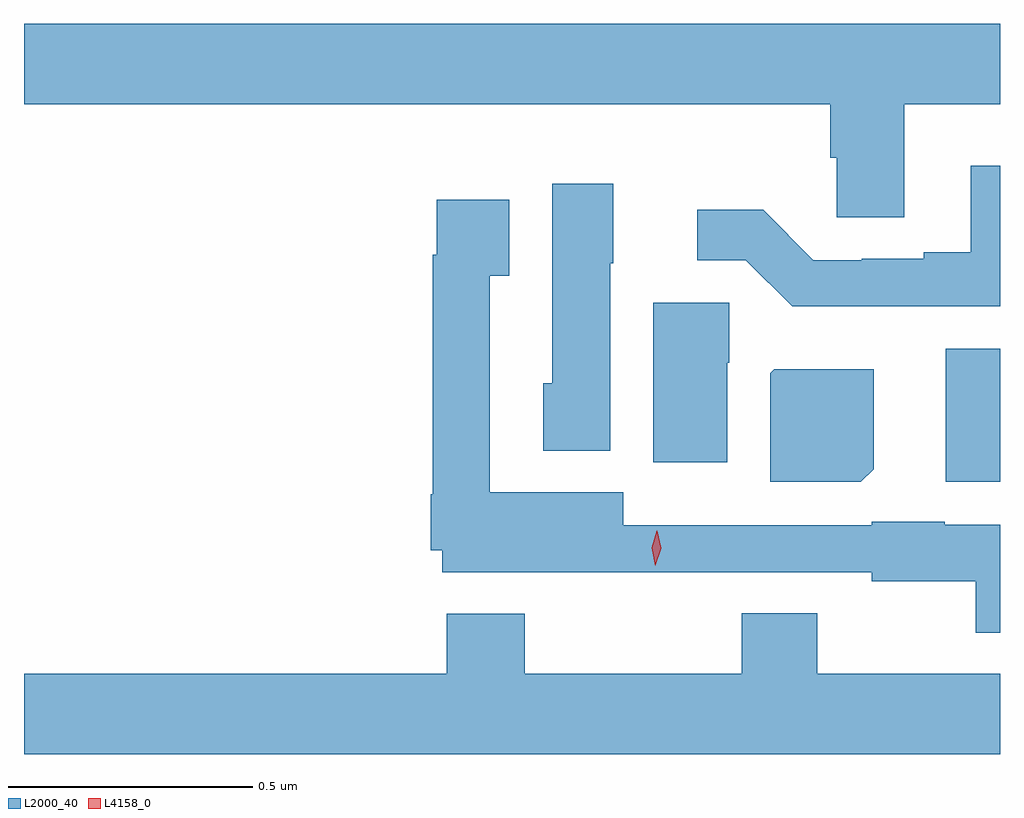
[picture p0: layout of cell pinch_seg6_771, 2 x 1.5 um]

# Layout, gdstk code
import gdstk
lib = gdstk.Library(unit=1e-6, precision=1e-09)
def R(c, l, rs):  # rectangles x0, y0, x1, y1
    for r in rs: c.add(gdstk.rectangle(r[:2], r[2:], *l))
def P(c, l, *ps):  # polygons
    for p in ps: c.add(gdstk.Polygon(p, *l))
L2000_40 = (2000, 40)
L4158_0 = (4158, 0)

pinch_seg6_771 = lib.new_cell('pinch_seg6_771')
R(pinch_seg6_771, L2000_40, [(507.158,926.582,507.269,926.854)])
P(pinch_seg6_771, L2000_40, [(507.073,927.356),(507.269,927.356),(507.269,927.52),(505.269,927.52),(505.269,927.356),(506.921,927.356),(506.921,927.246),(506.934,927.246),(506.934,927.124),(507.073,927.124)],
  [(507.269,927.229),(507.209,927.229),(507.209,927.052),(507.113,927.052),(507.113,927.039),(506.986,927.039),(506.986,927.036),(506.886,927.036),(506.784,927.139),(506.649,927.139),(506.649,927.036),(506.748,927.036),(506.843,926.942),(507.269,926.942)],
  [(506.47,927.03),(506.476,927.03),(506.476,927.193),(506.351,927.193),(506.351,926.784),(506.333,926.784),(506.333,926.645),(506.47,926.645)],
  [(507.269,926.494),(507.156,926.494),(507.156,926.5),(507.006,926.5),(507.006,926.493),(506.497,926.493),(506.497,926.56),(506.223,926.56),(506.223,927.004),(506.263,927.004),(506.263,927.16),(506.115,927.16),(506.115,927.047),(506.107,927.047),(506.107,926.556),(506.102,926.556),(506.102,926.442),(506.126,926.442),(506.126,926.396),(506.489,926.396),(506.489,926.397),(507.006,926.397),(507.006,926.378),(507.219,926.378),(507.219,926.273),(507.269,926.273)],
  [(506.71,926.826),(506.714,926.826),(506.714,926.949),(506.558,926.949),(506.558,926.622),(506.71,926.622)],
  [(507.01,926.608),(507.01,926.812),(506.806,926.812),(506.798,926.804),(506.798,926.582),(506.984,926.582)],
  [(507.269,926.188),(506.895,926.188),(506.895,926.312),(506.74,926.312),(506.74,926.188),(506.295,926.188),(506.295,926.311),(506.135,926.311),(506.135,926.188),(505.269,926.188),(505.269,926.024),(507.269,926.024)])
P(pinch_seg6_771, L4158_0, [(506.563,926.41),(506.563,926.41),(506.555,926.447),(506.566,926.482),(506.567,926.482),(506.567,926.482),(506.575,926.446),(506.563,926.41)])

lib.write_gds('pinch_seg6_771.gds')
